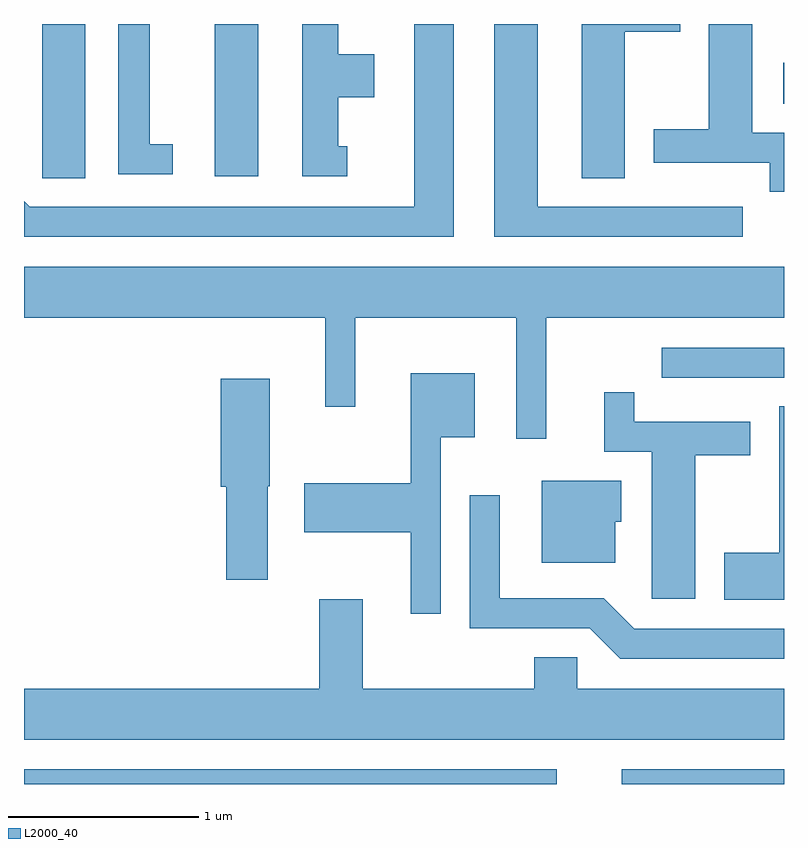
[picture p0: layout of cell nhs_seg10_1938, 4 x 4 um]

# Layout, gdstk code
import gdstk
lib = gdstk.Library(unit=1e-6, precision=1e-09)
def R(c, l, rs):  # rectangles x0, y0, x1, y1
    for r in rs: c.add(gdstk.rectangle(r[:2], r[2:], *l))
def P(c, l, *ps):  # polygons
    for p in ps: c.add(gdstk.Polygon(p, *l))
L2000_40 = (2000, 40)

nhs_seg10_1938 = lib.new_cell('nhs_seg10_1938')
R(nhs_seg10_1938, L2000_40, [(241.611,2162.522,244.414,2162.599), (244.756,2162.522,245.611,2162.599), (244.968,2164.661,245.611,2164.819), (241.706,2165.711,241.934,2166.522), (242.616,2165.721,242.844,2166.522), (245.606,2166.101,245.611,2166.319)])
P(nhs_seg10_1938, L2000_40, [(243.874,2166.522),(243.666,2166.522),(243.666,2165.559),(241.642,2165.559),(241.611,2165.59),(241.611,2165.401),(243.874,2165.401)],
  [(244.774,2166.481),(245.064,2166.481),(245.064,2166.522),(244.546,2166.522),(244.546,2165.711),(244.774,2165.711)],
  [(245.611,2165.949),(245.444,2165.949),(245.444,2166.522),(245.216,2166.522),(245.216,2165.969),(244.926,2165.969),(244.926,2165.791),(245.536,2165.791),(245.536,2165.638),(245.611,2165.638)],
  [(243.313,2165.879),(243.264,2165.879),(243.264,2166.136),(243.454,2166.136),(243.454,2166.364),(243.264,2166.364),(243.264,2166.522),(243.076,2166.522),(243.076,2165.721),(243.313,2165.721)],
  [(245.393,2165.559),(244.314,2165.559),(244.314,2166.522),(244.086,2166.522),(244.086,2165.401),(245.393,2165.401)],
  [(242.393,2165.889),(242.274,2165.889),(242.274,2166.522),(242.106,2166.522),(242.106,2165.731),(242.393,2165.731)],
  [(244.359,2164.976),(245.611,2164.976),(245.611,2165.244),(241.611,2165.244),(241.611,2164.976),(243.196,2164.976),(243.196,2164.508),(243.354,2164.508),(243.354,2164.976),(244.201,2164.976),(244.201,2164.338),(244.359,2164.338)],
  [(243.804,2164.346),(243.984,2164.346),(243.984,2164.684),(243.646,2164.684),(243.646,2164.104),(243.086,2164.104),(243.086,2163.846),(243.646,2163.846),(243.646,2163.418),(243.804,2163.418)],
  [(242.894,2164.09),(242.904,2164.09),(242.904,2164.654),(242.646,2164.654),(242.646,2164.086),(242.676,2164.086),(242.676,2163.596),(242.894,2163.596)],
  [(245.144,2164.251),(245.434,2164.251),(245.434,2164.429),(244.824,2164.429),(244.824,2164.583),(244.666,2164.583),(244.666,2164.271),(244.916,2164.271),(244.916,2163.496),(245.144,2163.496)],
  [(245.611,2164.509),(245.586,2164.509),(245.586,2163.739),(245.296,2163.739),(245.296,2163.491),(245.611,2163.491)],
  [(244.724,2163.901),(244.754,2163.901),(244.754,2164.119),(244.336,2164.119),(244.336,2163.686),(244.724,2163.686)],
  [(245.611,2163.339),(244.822,2163.339),(244.662,2163.499),(244.114,2163.499),(244.114,2164.043),(243.956,2164.043),(243.956,2163.341),(244.589,2163.341),(244.749,2163.181),(245.611,2163.181)],
  [(245.611,2163.024),(244.524,2163.024),(244.524,2163.189),(244.296,2163.189),(244.296,2163.024),(243.394,2163.024),(243.394,2163.494),(243.166,2163.494),(243.166,2163.024),(241.611,2163.024),(241.611,2162.756),(245.611,2162.756)])

lib.write_gds('nhs_seg10_1938.gds')
